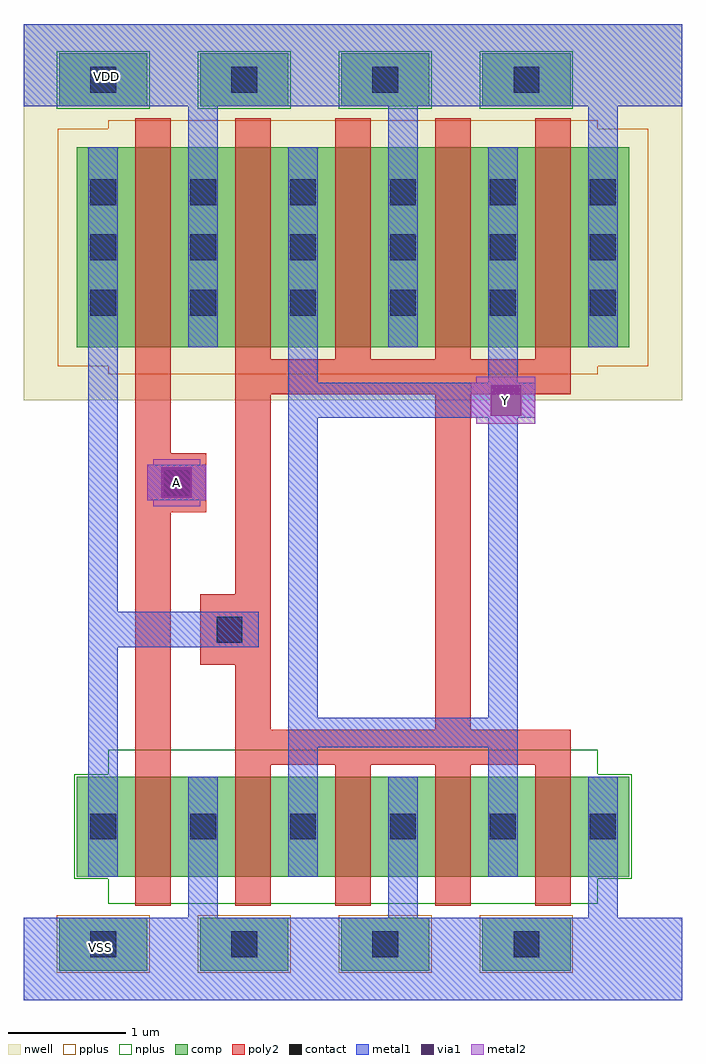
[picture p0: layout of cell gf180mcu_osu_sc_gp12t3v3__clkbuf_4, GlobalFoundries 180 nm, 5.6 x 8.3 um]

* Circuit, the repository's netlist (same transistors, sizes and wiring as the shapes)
* Copyright 2022 Google LLC
*
* Licensed under the Apache License, Version 2.0 (the "License");
* you may not use this file except in compliance with the License.
* You may obtain a copy of the License at
*
*      http://www.apache.org/licenses/LICENSE-2.0
*
* Unless required by applicable law or agreed to in writing, software
* distributed under the License is distributed on an "AS IS" BASIS,
* WITHOUT WARRANTIES OR CONDITIONS OF ANY KIND, either express or implied.
* See the License for the specific language governing permissions and
* limitations under the License.

.option scale=0.05u

.subckt gf180mcu_osu_sc_gp12t3v3__clkbuf_4 A Y
X0 Y a_9_19 VDD VDD pmos_3p3 w=34 l=6
X1 VDD a_9_19 Y VDD pmos_3p3 w=34 l=6
X2 VDD a_9_19 Y VDD pmos_3p3 w=34 l=6
X3 Y a_9_19 VDD VDD pmos_3p3 w=34 l=6
X4 VDD A a_9_19 VDD pmos_3p3 w=34 l=6
X5 VSS a_9_19 Y VSS nmos_3p3 w=17 l=6
X6 VSS A a_9_19 VSS nmos_3p3 w=17 l=6
X7 VSS a_9_19 Y VSS nmos_3p3 w=17 l=6
X8 Y a_9_19 VSS VSS nmos_3p3 w=17 l=6
X9 Y a_9_19 VSS VSS nmos_3p3 w=17 l=6
.ends

** hspice subcircuit dictionary

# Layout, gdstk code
import gdstk
lib = gdstk.Library(unit=1e-6, precision=1e-09)
def R(c, l, rs):  # rectangles x0, y0, x1, y1
    for r in rs: c.add(gdstk.rectangle(r[:2], r[2:], *l))
def A(c, l, x, y, w, h, nx, ny, dx, dy):  # array of equal rectangles
    R(c, l, [(x+i*dx, y+j*dy, x+i*dx+w, y+j*dy+h) for i in range(nx) for j in range(ny)])
nwell = (21, 0)
comp = (22, 0)
poly2 = (30, 0)
pplus = (31, 0)
nplus = (32, 0)
contact = (33, 0)
metal1 = (34, 0)
via1 = (35, 0)
metal2 = (36, 0)

gf180mcu_osu_sc_gp12t3v3 = lib.new_cell('gf180mcu_osu_sc_gp12t3v3__clkbuf_4')
R(gf180mcu_osu_sc_gp12t3v3, nwell, [(0,5.1,5.6,8.3)])
A(gf180mcu_osu_sc_gp12t3v3, comp, 0.3, 0.25, 0.75, 0.45, 4, 2, 1.2, 7.35)
R(gf180mcu_osu_sc_gp12t3v3, comp, [(0.45,1.05,5.15,1.9), (0.45,5.55,5.15,7.25)])
A(gf180mcu_osu_sc_gp12t3v3, poly2, 1.8, 0.8, 0.3, 1.2, 4, 1, 0.85, 0)
A(gf180mcu_osu_sc_gp12t3v3, poly2, 1.8, 5.45, 0.3, 2.05, 4, 1, 0.85, 0)
R(gf180mcu_osu_sc_gp12t3v3, poly2, [(0.95,0.8,1.25,4.15), (1.8,2,4.65,2.3), (1.8,2.3,2.1,2.85), (3.5,2.3,3.8,5.15), (1.5,2.85,2.1,3.45), (1.8,3.45,2.1,5.15), (0.95,4.15,1.55,4.65), (0.95,4.65,1.25,7.5), (1.8,5.15,4.65,5.45)])
A(gf180mcu_osu_sc_gp12t3v3, pplus, 0.28, 0.23, 0.79, 0.49, 4, 1, 1.2, 0)
R(gf180mcu_osu_sc_gp12t3v3, pplus, [(0.72,5.32,4.88,5.39), (0.29,5.39,5.31,7.41), (0.72,7.41,4.88,7.48)])
A(gf180mcu_osu_sc_gp12t3v3, nplus, 0.28, 7.58, 0.79, 0.49, 4, 1, 1.2, 0)
R(gf180mcu_osu_sc_gp12t3v3, nplus, [(0.72,0.82,4.88,1.03), (0.43,1.03,5.17,1.92), (0.72,1.92,4.88,2.13)])
A(gf180mcu_osu_sc_gp12t3v3, contact, 0.565, 0.365, 0.22, 0.22, 4, 2, 1.2, 7.35)
A(gf180mcu_osu_sc_gp12t3v3, contact, 0.565, 1.365, 0.22, 0.22, 6, 2, 0.85, 4.455)
A(gf180mcu_osu_sc_gp12t3v3, contact, 0.565, 6.29, 0.22, 0.22, 6, 2, 0.85, 0.47)
R(gf180mcu_osu_sc_gp12t3v3, contact, [(1.64,3.04,1.86,3.26), (1.19,4.29,1.41,4.51)])
A(gf180mcu_osu_sc_gp12t3v3, metal1, 1.4, 0.7, 0.25, 1.2, 3, 1, 1.7, 0)
A(gf180mcu_osu_sc_gp12t3v3, metal1, 1.4, 5.55, 0.25, 2.05, 3, 1, 1.7, 0)
R(gf180mcu_osu_sc_gp12t3v3, metal1, [(0,0,5.6,0.7), (0.55,1.05,0.8,3), (2.25,1.05,2.5,2.15), (3.95,1.05,4.2,2.15), (2.25,2.15,4.2,2.4), (2.25,2.4,2.5,4.95), (3.95,2.4,4.2,4.95), (0.55,3,2,3.3), (0.55,3.3,0.8,7.25), (1.05,4.25,1.55,4.55), (2.25,4.95,4.35,5.25), (2.25,5.25,2.5,7.25), (3.95,5.25,4.2,7.25), (0,7.6,5.6,8.3)])
R(gf180mcu_osu_sc_gp12t3v3, via1, [(1.17,4.27,1.43,4.53), (3.97,4.97,4.23,5.23)])
R(gf180mcu_osu_sc_gp12t3v3, metal2, [(1.1,4.2,1.5,4.25), (1.05,4.25,1.55,4.55), (1.1,4.55,1.5,4.6), (3.85,4.9,4.35,4.95), (3.8,4.95,4.35,5.25), (3.85,5.25,4.35,5.3)])
gf180mcu_osu_sc_gp12t3v3.add(gdstk.Label('A', (1.3,4.4), layer=36, texttype=10))
gf180mcu_osu_sc_gp12t3v3.add(gdstk.Label('Y', (4.1,5.1), layer=36, texttype=10))
gf180mcu_osu_sc_gp12t3v3.add(gdstk.Label('VDD', (0.7,7.85), layer=34, texttype=10))
gf180mcu_osu_sc_gp12t3v3.add(gdstk.Label('VSS', (0.65,0.45), layer=34, texttype=10))

lib.write_gds('gf180mcu_osu_sc_gp12t3v3__clkbuf_4.gds')
